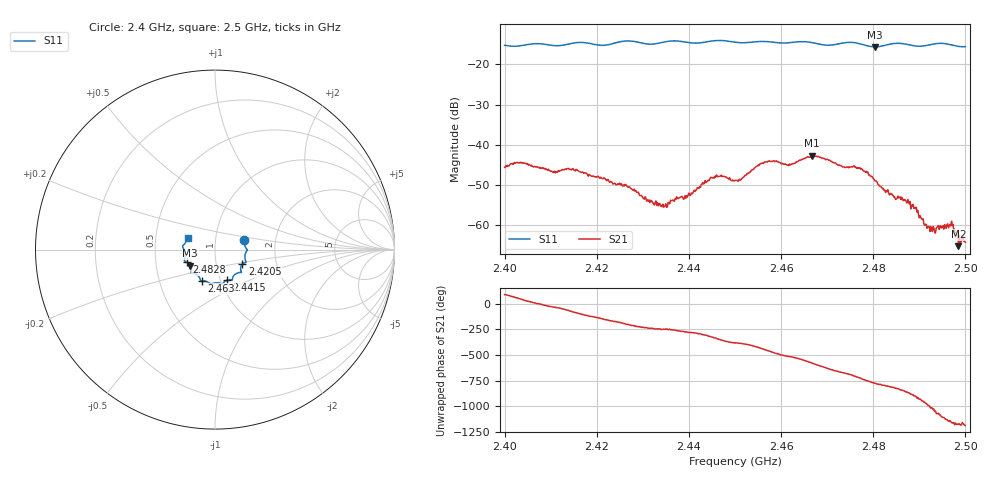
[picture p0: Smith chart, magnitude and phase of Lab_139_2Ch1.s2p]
# Hz S RI R 50
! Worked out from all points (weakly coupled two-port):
!   601 points, 2.4 GHz to 2.5 GHz, reference 50 ohm
!   highest |S21| = -42.67 dB at 2.4667 GHz (marker M1); lowest = -65.1 dB at 2.4985 GHz (marker M2)
!   lowest |S11| = -15.7 dB at 2.4803 GHz (marker M3), VSWR 1.39, Z = 37.4 - j6.84 ohm
!   |S11| at or under -10 dB: start of sweep to end of sweep
!   S12 and S22 are empty: the file has one direction only
!   S11 on the Smith chart (normalised r, x): 2.4 GHz: 1.38, +0.15; 2.4205 GHz: 1.34, -0.23; 2.4415 GHz: 1.07, -0.38; 2.463 GHz: 0.82, -0.29; 2.4828 GHz: 0.72, -0.10; 2.5 GHz: 0.73, +0.10
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2.4e9  0.1638 0.0519  -0.00014 0.00526  0 0  0 0
2.403667e9  0.17 0.0126  0.00413 0.0043  0 0  0 0
2.4105e9  0.1697 -0.0205  0.00396 -0.00227  0 0  0 0
2.416667e9  0.173 -0.07  -0.000739 -0.00449  0 0  0 0
2.4205e9  0.1519 -0.0818  -0.00291 -0.00267  0 0  0 0
2.433333e9  0.1004 -0.1515  -0.000717 0.0016  0 0  0 0
2.435e9  0.0972 -0.1639  -0.000813 0.00167  0 0  0 0
2.4415e9  0.0656 -0.1706  0.000723 0.00265  0 0  0 0
2.446167e9  0.0411 -0.1929  0.00383 0.00129  0 0  0 0
2.45e9  0.0241 -0.1864  0.00345 -0.00111  0 0  0 0
2.456833e9  -0.0253 -0.1894  -0.000131 -0.00614  0 0  0 0
2.463e9  -0.0721 -0.1738  -0.00572 -0.00143  0 0  0 0
2.466667e9  -0.0821 -0.1669  -0.00589 0.00441  0 0  0 0
2.477e9  -0.132 -0.1226  0.0051 -0.000283  0 0  0 0
2.480333e9  -0.1377 -0.0891  0.00203 -0.00298  0 0  0 0
2.482833e9  -0.1586 -0.07  0.000324 -0.00268  0 0  0 0
2.483333e9  -0.1625 -0.068  0.000177 -0.00256  0 0  0 0
2.488833e9  -0.1654 -0.0374  -0.00162 -1.63e-05  0 0  0 0
2.492167e9  -0.1742 0.00268  0.000119 0.000955  0 0  0 0
2.496833e9  -0.1724 0.029  0.000319 -0.000936  0 0  0 0
2.4985e9  -0.1607 0.0445  -7.54e-05 -0.000548  0 0  0 0
2.5e9  -0.1526 0.0645  -0.000198 -0.000584  0 0  0 0
